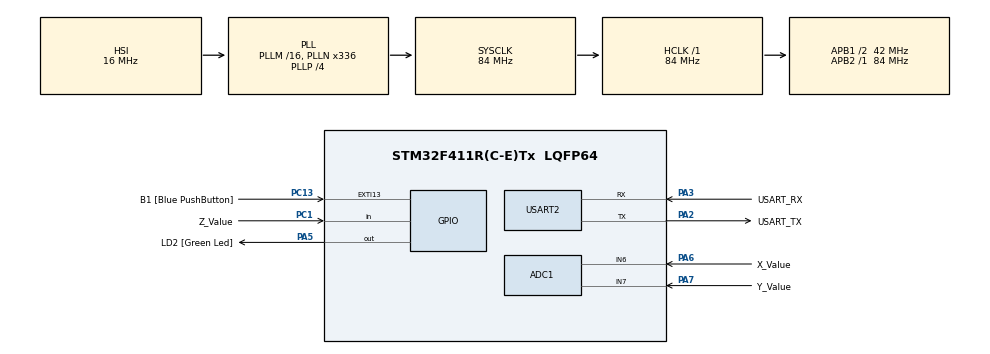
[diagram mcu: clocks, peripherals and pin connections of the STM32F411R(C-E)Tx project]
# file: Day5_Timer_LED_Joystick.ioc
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ADC1.Channel-0\#ChannelRegularConversion=ADC_CHANNEL_6
ADC1.Channel-1\#ChannelRegularConversion=ADC_CHANNEL_7
ADC1.NbrOfConversion=2
ADC1.NbrOfConversionFlag=1
ADC1.Rank-0\#ChannelRegularConversion=1
ADC1.Rank-1\#ChannelRegularConversion=2
ADC1.SamplingTime-0\#ChannelRegularConversion=ADC_SAMPLETIME_480CYCLES
ADC1.SamplingTime-1\#ChannelRegularConversion=ADC_SAMPLETIME_480CYCLES
ADC1.ScanConvMode=ENABLE
ADC1.master=1
Mcu.Family=STM32F4
Mcu.Name=STM32F411R(C-E)Tx
Mcu.Package=LQFP64
NVIC.PriorityGroup=NVIC_PRIORITYGROUP_0
NVIC.TIM3_IRQn=true\:0\:0\:false\:false\:true\:true\:true\:true
PA13.GPIO_Label=TMS
PA13.Mode=Serial_Wire
PA13.Signal=SYS_JTMS-SWDIO
PA14.GPIO_Label=TCK
PA14.Mode=Serial_Wire
PA14.Signal=SYS_JTCK-SWCLK
PA2.GPIO_Label=USART_TX
PA2.Mode=Asynchronous
PA2.Signal=USART2_TX
PA3.GPIO_Label=USART_RX
PA3.Mode=Asynchronous
PA3.Signal=USART2_RX
PA5.GPIO_Label=LD2 [Green Led]
PA5.Signal=GPIO_Output
PA6.GPIO_Label=X_Value
PA6.Signal=ADCx_IN6
PA7.GPIO_Label=Y_Value
PA7.Signal=ADCx_IN7
PB3.GPIO_Label=SWO
PB3.Signal=SYS_JTDO-SWO
PC1.GPIO_Label=Z_Value
PC1.Signal=GPIO_Input
PC13-ANTI_TAMP.GPIO_Label=B1 [Blue PushButton]
PC13-ANTI_TAMP.GPIO_ModeDefaultEXTI=GPIO_MODE_IT_FALLING
PC13-ANTI_TAMP.Signal=GPXTI13
PC14-OSC32_IN.Mode=LSE-External-Oscillator
PC14-OSC32_IN.Signal=RCC_OSC32_IN
PC15-OSC32_OUT.Mode=LSE-External-Oscillator
PC15-OSC32_OUT.Signal=RCC_OSC32_OUT
PH0\ -\ OSC_IN.Mode=HSE-External-Clock-Source
PH0\ -\ OSC_IN.Signal=RCC_OSC_IN
PH1\ -\ OSC_OUT.Mode=HSE-External-Clock-Source
PH1\ -\ OSC_OUT.Signal=RCC_OSC_OUT
ProjectManager.HeapSize=0x200
ProjectManager.StackSize=0x400
ProjectManager.TargetToolchain=STM32CubeIDE
RCC.48MHZClocksFreq_Value=84000000
RCC.AHBFreq_Value=84000000
RCC.APB1CLKDivider=RCC_HCLK_DIV2
RCC.APB1Freq_Value=42000000
RCC.APB1TimFreq_Value=84000000
RCC.APB2Freq_Value=84000000
RCC.APB2TimFreq_Value=84000000
RCC.CortexFreq_Value=84000000
RCC.FLatency-AdvancedSettings=FLASH_LATENCY_2
RCC.HCLKFreq_Value=84000000
RCC.HSE_VALUE=8000000
RCC.HSI_VALUE=16000000
RCC.PLLN=336
RCC.PLLP=RCC_PLLP_DIV4
RCC.SYSCLKFreq_VALUE=84000000
RCC.SYSCLKSource=RCC_SYSCLKSOURCE_PLLCLK
RCC.VCOOutputFreq_Value=336000000
SH.ADCx_IN6.0=ADC1_IN6,IN6
SH.ADCx_IN7.0=ADC1_IN7,IN7
TIM3.Period=9999
TIM3.Prescaler=8399
USART2.VirtualMode=VM_ASYNC
VP_TIM3_VS_ClockSourceINT.Mode=Internal
board=NUCLEO-F411RE

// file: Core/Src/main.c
/* USER CODE BEGIN Header */
/**
  ******************************************************************************
  * @file           : main.c
  * @brief          : Main program body
  ******************************************************************************
  * @attention
  *
  * Copyright (c) 2023 STMicroelectronics.
  * All rights reserved.
  *
  * This software is licensed under terms that can be found in the LICENSE file
  * in the root directory of this software component.
  * If no LICENSE file comes with this software, it is provided AS-IS.
  *
  ******************************************************************************
  */
/* USER CODE END Header */
#include "main.h"

ADC_HandleTypeDef hadc1;

TIM_HandleTypeDef htim3;

UART_HandleTypeDef huart2;

int xVal, yVal, zVal;
int nVal;
int mVal;

void SystemClock_Config(void);
static void MX_GPIO_Init(void);
static void MX_USART2_UART_Init(void);
static void MX_ADC1_Init(void);
static void MX_TIM3_Init(void);

/* USER CODE BEGIN 0 */
int __io_putchar(int ch) // 1 byte output function to CONSOLE(monitor)
{
	HAL_UART_Transmit(&huart2, &ch, 1, 100);
}

//int nCount;
//int xVal, yVal, zVal; // ?��?���??��?���?�? 초기?�� ?��?��?��?��.
//
//void HAL_ADC_ConvCpltCallback(ADC_HandleTypeDef *hadc) // Callback function
//{
//	switch(nCount)
//	{
//		case 0 :
//			xVal = HAL_ADC_GetValue(&hadc1);
//			nCount++;
//			break;
//		case 1 :
//			yVal = HAL_ADC_GetValue(&hadc1);
//			nCount++;
//			break;
//		case 2 :
//			zVal = !(HAL_GPIO_ReadPin(Z_Value_GPIO_Port, Z_Value_Pin));
//			nCount++;
//			break;
//		case 3 :
//			printf("Joystick(Interrupt) X : %d, Y = %d, Z = %d \r\n", xVal, yVal, zVal);
//			nCount = 0;
//	}
//	HAL_ADC_Start_IT(&hadc1); // Restart ADC conversion
//}

void Joystick_LEDspeed_ctl()
{
	HAL_ADC_Start(&hadc1); // ADC �?????�� ?��?��
	HAL_ADC_PollForConversion(&hadc1, 100);
	xVal = HAL_ADC_GetValue(&hadc1); // xVal Read(Read Rank1)
	HAL_ADC_PollForConversion(&hadc1, 100);
	yVal = HAL_ADC_GetValue(&hadc1); // yVal Read(Read Rank2)
	HAL_ADC_Stop(&hadc1); // ADC �?????�� 중�?
	zVal = !(HAL_GPIO_ReadPin(Z_Value_GPIO_Port, Z_Value_Pin));
	printf("X : %d, Y = %d, Z = %d \r\n", xVal, yVal, zVal);
	nVal = xVal / 1000 + 1; // 점멸 속도 빠르기 설정(1~5), 0이 나오면 곤란하므로 +1
	mVal = 1000 / nVal / 2; // 주기에 적용
}

void HAL_TIM_PeriodElapsedCallback(TIM_HandleTypeDef *htim)
{
	if (htim->Instance == TIM3)
		HAL_GPIO_TogglePin(LD2_GPIO_Port, LD2_Pin);
}
/* USER CODE END 0 */

int main(void)
{

  /* MCU Configuration--------------------------------------------------------*/

  /* Reset of all peripherals, Initializes the Flash interface and the Systick. */
  HAL_Init();

  /* Configure the system clock */
  SystemClock_Config();

  /* Initialize all configured peripherals */
  MX_GPIO_Init();
  MX_USART2_UART_Init();
  MX_ADC1_Init();
  MX_TIM3_Init();

//  HAL_ADC_Start_IT(&hadc1);
  HAL_TIM_Base_Start_IT(&htim3);
  HAL_TIM_Base_Init(&htim3);

  /* Infinite loop */
  while (1)
  {

    /* USER CODE BEGIN 3 */
	  Joystick_LEDspeed_ctl();
	  HAL_Delay(100);
	  htim3.Instance->ARR = 9999 / mVal;
  }
  /* USER CODE END 3 */
}

void SystemClock_Config(void)
{
  RCC_OscInitTypeDef RCC_OscInitStruct = {0};
  RCC_ClkInitTypeDef RCC_ClkInitStruct = {0};

  /** Configure the main internal regulator output voltage
  */
  __HAL_RCC_PWR_CLK_ENABLE();
  __HAL_PWR_VOLTAGESCALING_CONFIG(PWR_REGULATOR_VOLTAGE_SCALE1);

  /** Initializes the RCC Oscillators according to the specified parameters
  * in the RCC_OscInitTypeDef structure.
  */
  RCC_OscInitStruct.OscillatorType = RCC_OSCILLATORTYPE_HSI;
  RCC_OscInitStruct.HSIState = RCC_HSI_ON;
  RCC_OscInitStruct.HSICalibrationValue = RCC_HSICALIBRATION_DEFAULT;
  RCC_OscInitStruct.PLL.PLLState = RCC_PLL_ON;
  RCC_OscInitStruct.PLL.PLLSource = RCC_PLLSOURCE_HSI;
  RCC_OscInitStruct.PLL.PLLM = 16;
  RCC_OscInitStruct.PLL.PLLN = 336;
  RCC_OscInitStruct.PLL.PLLP = RCC_PLLP_DIV4;
  RCC_OscInitStruct.PLL.PLLQ = 4;
  if (HAL_RCC_OscConfig(&RCC_OscInitStruct) != HAL_OK)
  {
    Error_Handler();
  }

  /** Initializes the CPU, AHB and APB buses clocks
  */
  RCC_ClkInitStruct.ClockType = RCC_CLOCKTYPE_HCLK|RCC_CLOCKTYPE_SYSCLK
                              |RCC_CLOCKTYPE_PCLK1|RCC_CLOCKTYPE_PCLK2;
  RCC_ClkInitStruct.SYSCLKSource = RCC_SYSCLKSOURCE_PLLCLK;
  RCC_ClkInitStruct.AHBCLKDivider = RCC_SYSCLK_DIV1;
  RCC_ClkInitStruct.APB1CLKDivider = RCC_HCLK_DIV2;
  RCC_ClkInitStruct.APB2CLKDivider = RCC_HCLK_DIV1;

  if (HAL_RCC_ClockConfig(&RCC_ClkInitStruct, FLASH_LATENCY_2) != HAL_OK)
  {
    Error_Handler();
  }
}

static void MX_ADC1_Init(void)
{

  ADC_ChannelConfTypeDef sConfig = {0};

  /** Configure the global features of the ADC (Clock, Resolution, Data Alignment and number of conversion)
  */
  hadc1.Instance = ADC1;
  hadc1.Init.ClockPrescaler = ADC_CLOCK_SYNC_PCLK_DIV4;
  hadc1.Init.Resolution = ADC_RESOLUTION_12B;
  hadc1.Init.ScanConvMode = ENABLE;
  hadc1.Init.ContinuousConvMode = DISABLE;
  hadc1.Init.DiscontinuousConvMode = DISABLE;
  hadc1.Init.ExternalTrigConvEdge = ADC_EXTERNALTRIGCONVEDGE_NONE;
  hadc1.Init.ExternalTrigConv = ADC_SOFTWARE_START;
  hadc1.Init.DataAlign = ADC_DATAALIGN_RIGHT;
  hadc1.Init.NbrOfConversion = 2;
  hadc1.Init.DMAContinuousRequests = DISABLE;
  hadc1.Init.EOCSelection = ADC_EOC_SINGLE_CONV;
  if (HAL_ADC_Init(&hadc1) != HAL_OK)
  {
    Error_Handler();
  }

  /** Configure for the selected ADC regular channel its corresponding rank in the sequencer and its sample time.
  */
  sConfig.Channel = ADC_CHANNEL_6;
  sConfig.Rank = 1;
  sConfig.SamplingTime = ADC_SAMPLETIME_480CYCLES;
  if (HAL_ADC_ConfigChannel(&hadc1, &sConfig) != HAL_OK)
  {
    Error_Handler();
  }

  /** Configure for the selected ADC regular channel its corresponding rank in the sequencer and its sample time.
  */
  sConfig.Channel = ADC_CHANNEL_7;
  sConfig.Rank = 2;
  if (HAL_ADC_ConfigChannel(&hadc1, &sConfig) != HAL_OK)
  {
    Error_Handler();
  }

}

static void MX_TIM3_Init(void)
{

  TIM_ClockConfigTypeDef sClockSourceConfig = {0};
  TIM_MasterConfigTypeDef sMasterConfig = {0};

  htim3.Instance = TIM3;
  htim3.Init.Prescaler = 8399;
  htim3.Init.CounterMode = TIM_COUNTERMODE_UP;
  htim3.Init.Period = 9999;
  htim3.Init.ClockDivision = TIM_CLOCKDIVISION_DIV1;
  htim3.Init.AutoReloadPreload = TIM_AUTORELOAD_PRELOAD_DISABLE;
  if (HAL_TIM_Base_Init(&htim3) != HAL_OK)
  {
    Error_Handler();
  }
  sClockSourceConfig.ClockSource = TIM_CLOCKSOURCE_INTERNAL;
  if (HAL_TIM_ConfigClockSource(&htim3, &sClockSourceConfig) != HAL_OK)
  {
    Error_Handler();
  }
  sMasterConfig.MasterOutputTrigger = TIM_TRGO_RESET;
  sMasterConfig.MasterSlaveMode = TIM_MASTERSLAVEMODE_DISABLE;
  if (HAL_TIMEx_MasterConfigSynchronization(&htim3, &sMasterConfig) != HAL_OK)
  {
    Error_Handler();
  }

}

static void MX_USART2_UART_Init(void)
{

  huart2.Instance = USART2;
  huart2.Init.BaudRate = 115200;
  huart2.Init.WordLength = UART_WORDLENGTH_8B;
  huart2.Init.StopBits = UART_STOPBITS_1;
  huart2.Init.Parity = UART_PARITY_NONE;
  huart2.Init.Mode = UART_MODE_TX_RX;
  huart2.Init.HwFlowCtl = UART_HWCONTROL_NONE;
  huart2.Init.OverSampling = UART_OVERSAMPLING_16;
  if (HAL_UART_Init(&huart2) != HAL_OK)
  {
    Error_Handler();
  }

}

static void MX_GPIO_Init(void)
{
  GPIO_InitTypeDef GPIO_InitStruct = {0};

  /* GPIO Ports Clock Enable */
  __HAL_RCC_GPIOC_CLK_ENABLE();
  __HAL_RCC_GPIOH_CLK_ENABLE();
  __HAL_RCC_GPIOA_CLK_ENABLE();
  __HAL_RCC_GPIOB_CLK_ENABLE();

  /*Configure GPIO pin Output Level */
  HAL_GPIO_WritePin(LD2_GPIO_Port, LD2_Pin, GPIO_PIN_RESET);

  /*Configure GPIO pin : B1_Pin */
  GPIO_InitStruct.Pin = B1_Pin;
  GPIO_InitStruct.Mode = GPIO_MODE_IT_FALLING;
  GPIO_InitStruct.Pull = GPIO_NOPULL;
  HAL_GPIO_Init(B1_GPIO_Port, &GPIO_InitStruct);

  /*Configure GPIO pin : Z_Value_Pin */
  GPIO_InitStruct.Pin = Z_Value_Pin;
  GPIO_InitStruct.Mode = GPIO_MODE_INPUT;
  GPIO_InitStruct.Pull = GPIO_PULLUP;
  HAL_GPIO_Init(Z_Value_GPIO_Port, &GPIO_InitStruct);

  /*Configure GPIO pin : LD2_Pin */
  GPIO_InitStruct.Pin = LD2_Pin;
  GPIO_InitStruct.Mode = GPIO_MODE_OUTPUT_PP;
  GPIO_InitStruct.Pull = GPIO_NOPULL;
  GPIO_InitStruct.Speed = GPIO_SPEED_FREQ_LOW;
  HAL_GPIO_Init(LD2_GPIO_Port, &GPIO_InitStruct);

}

void Error_Handler(void)
{
  __disable_irq();
  while (1)
  {
  }
}
